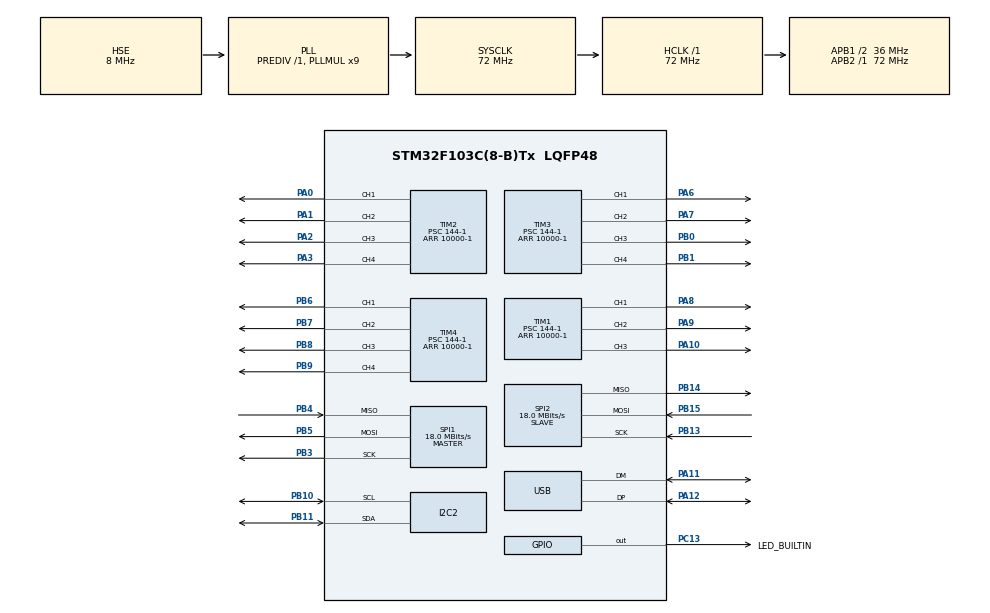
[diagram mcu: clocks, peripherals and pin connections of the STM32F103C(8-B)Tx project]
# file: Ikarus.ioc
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Mcu.Family=STM32F1
Mcu.Name=STM32F103C(8-B)Tx
Mcu.Package=LQFP48
NVIC.PriorityGroup=NVIC_PRIORITYGROUP_4
NVIC.TIM2_IRQn=true\:0\:0\:false\:false\:true\:true\:true
NVIC.TIM3_IRQn=true\:0\:0\:false\:false\:true\:true\:true
NVIC.TIM4_IRQn=true\:0\:0\:false\:false\:true\:true\:true
NVIC.USB_LP_CAN1_RX0_IRQn=true\:0\:0\:false\:false\:true\:false\:true
PA0-WKUP.Signal=S_TIM2_CH1_ETR
PA1.Signal=S_TIM2_CH2
PA10.Signal=S_TIM1_CH3
PA11.Mode=Device
PA11.Signal=USB_DM
PA12.Mode=Device
PA12.Signal=USB_DP
PA13.Mode=Serial_Wire
PA13.Signal=SYS_JTMS-SWDIO
PA14.Mode=Serial_Wire
PA14.Signal=SYS_JTCK-SWCLK
PA2.Signal=S_TIM2_CH3
PA3.Signal=S_TIM2_CH4
PA6.Signal=S_TIM3_CH1
PA7.Signal=S_TIM3_CH2
PA8.Signal=S_TIM1_CH1
PA9.Signal=S_TIM1_CH2
PB0.Signal=S_TIM3_CH3
PB1.Signal=S_TIM3_CH4
PB10.Mode=I2C
PB10.Signal=I2C2_SCL
PB11.Mode=I2C
PB11.Signal=I2C2_SDA
PB13.Mode=Full_Duplex_Slave
PB13.Signal=SPI2_SCK
PB14.Mode=Full_Duplex_Slave
PB14.Signal=SPI2_MISO
PB15.Mode=Full_Duplex_Slave
PB15.Signal=SPI2_MOSI
PB3.Mode=Full_Duplex_Master
PB3.Signal=SPI1_SCK
PB4.Mode=Full_Duplex_Master
PB4.Signal=SPI1_MISO
PB5.Mode=Full_Duplex_Master
PB5.Signal=SPI1_MOSI
PB6.Signal=S_TIM4_CH1
PB7.Signal=S_TIM4_CH2
PB8.Signal=S_TIM4_CH3
PB9.Signal=S_TIM4_CH4
PC13-TAMPER-RTC.GPIO_Label=LED_BUILTIN
PC13-TAMPER-RTC.Signal=GPIO_Output
PD0-OSC_IN.Mode=HSE-External-Oscillator
PD0-OSC_IN.Signal=RCC_OSC_IN
PD1-OSC_OUT.Mode=HSE-External-Oscillator
PD1-OSC_OUT.Signal=RCC_OSC_OUT
ProjectManager.HeapSize=0x200
ProjectManager.StackSize=0x400
ProjectManager.TargetToolchain=STM32CubeIDE
RCC.AHBFreq_Value=72000000
RCC.APB1CLKDivider=RCC_HCLK_DIV2
RCC.APB1Freq_Value=36000000
RCC.APB1TimFreq_Value=72000000
RCC.APB2Freq_Value=72000000
RCC.APB2TimFreq_Value=72000000
RCC.HCLKFreq_Value=72000000
RCC.PLLMUL=RCC_PLL_MUL9
RCC.SYSCLKFreq_VALUE=72000000
RCC.SYSCLKSource=RCC_SYSCLKSOURCE_PLLCLK
RCC.USBFreq_Value=48000000
RCC.USBPrescaler=RCC_USBCLKSOURCE_PLL_DIV1_5
SH.S_TIM1_CH1.0=TIM1_CH1,Output Compare1 CH1
SH.S_TIM1_CH2.0=TIM1_CH2,Output Compare2 CH2
SH.S_TIM1_CH3.0=TIM1_CH3,Output Compare3 CH3
SH.S_TIM2_CH1_ETR.0=TIM2_CH1,PWM Generation1 CH1
SH.S_TIM2_CH2.0=TIM2_CH2,PWM Generation2 CH2
SH.S_TIM2_CH3.0=TIM2_CH3,PWM Generation3 CH3
SH.S_TIM2_CH4.0=TIM2_CH4,PWM Generation4 CH4
SH.S_TIM3_CH1.0=TIM3_CH1,PWM Generation1 CH1
SH.S_TIM3_CH2.0=TIM3_CH2,PWM Generation2 CH2
SH.S_TIM3_CH3.0=TIM3_CH3,PWM Generation3 CH3
SH.S_TIM3_CH4.0=TIM3_CH4,PWM Generation4 CH4
SH.S_TIM4_CH1.0=TIM4_CH1,PWM Generation1 CH1
SH.S_TIM4_CH2.0=TIM4_CH2,PWM Generation2 CH2
SH.S_TIM4_CH3.0=TIM4_CH3,PWM Generation3 CH3
SH.S_TIM4_CH4.0=TIM4_CH4,PWM Generation4 CH4
SPI1.BaudRatePrescaler=SPI_BAUDRATEPRESCALER_4
SPI1.CalculateBaudRate=18.0 MBits/s
SPI1.Direction=SPI_DIRECTION_2LINES
SPI1.Mode=SPI_MODE_MASTER
SPI1.VirtualType=VM_MASTER
SPI2.CalculateBaudRate=18.0 MBits/s
SPI2.Direction=SPI_DIRECTION_2LINES
SPI2.Mode=SPI_MODE_SLAVE
SPI2.VirtualType=VM_SLAVE
TIM1.Channel-Output\ Compare1\ CH1=TIM_CHANNEL_1
TIM1.Channel-Output\ Compare2\ CH2=TIM_CHANNEL_2
TIM1.Channel-Output\ Compare3\ CH3=TIM_CHANNEL_3
TIM1.Period=10000-1
TIM1.Prescaler=144-1
TIM2.Channel-PWM\ Generation1\ CH1=TIM_CHANNEL_1
TIM2.Channel-PWM\ Generation2\ CH2=TIM_CHANNEL_2
TIM2.Channel-PWM\ Generation3\ CH3=TIM_CHANNEL_3
TIM2.Channel-PWM\ Generation4\ CH4=TIM_CHANNEL_4
TIM2.Period=10000-1
TIM2.Prescaler=144-1
TIM3.Channel-PWM\ Generation1\ CH1=TIM_CHANNEL_1
TIM3.Channel-PWM\ Generation2\ CH2=TIM_CHANNEL_2
TIM3.Channel-PWM\ Generation3\ CH3=TIM_CHANNEL_3
TIM3.Channel-PWM\ Generation4\ CH4=TIM_CHANNEL_4
TIM3.Period=10000-1
TIM3.Prescaler=144-1
TIM4.Channel-PWM\ Generation1\ CH1=TIM_CHANNEL_1
TIM4.Channel-PWM\ Generation2\ CH2=TIM_CHANNEL_2
TIM4.Channel-PWM\ Generation3\ CH3=TIM_CHANNEL_3
TIM4.Channel-PWM\ Generation4\ CH4=TIM_CHANNEL_4
TIM4.Period=10000-1
TIM4.Prescaler=144-1
USB_DEVICE.CLASS_NAME_FS=CDC
USB_DEVICE.MANUFACTURER_STRING=Silencio Designs
USB_DEVICE.PRODUCT_STRING_CDC_FS=Silencio Communicator
USB_DEVICE.VirtualMode=Cdc
USB_DEVICE.VirtualModeFS=Cdc_FS
VP_TIM1_VS_ClockSourceINT.Mode=Internal
VP_TIM2_VS_ClockSourceINT.Mode=Internal
VP_TIM3_VS_ClockSourceINT.Mode=Internal
VP_TIM4_VS_ClockSourceINT.Mode=Internal
VP_USB_DEVICE_VS_USB_DEVICE_CDC_FS.Mode=CDC_FS
board=custom

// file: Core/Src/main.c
/* USER CODE BEGIN Header */
/**
 ******************************************************************************
 * @file           : main.c
 * @brief          : Main program body
 ******************************************************************************
 * @attention
 *
 * <h2><center>&copy; Copyright (c) 2019 STMicroelectronics.
 * All rights reserved.</center></h2>
 *
 * This software component is licensed by ST under BSD 3-Clause license,
 * the "License"; You may not use this file except in compliance with the
 * License. You may obtain a copy of the License at:
 *                        opensource.org/licenses/BSD-3-Clause
 *
 ******************************************************************************
 */
/* USER CODE END Header */

#include "main.h"
#include "i2c.h"
#include "spi.h"
#include "tim.h"
#include "usb_device.h"
#include "gpio.h"

/* USER CODE BEGIN Includes */

// Include to use Receive_fs data in code
#include "usbd_cdc_if.h"

/* USER CODE END Includes */

/* USER CODE BEGIN PV */

//var to use USB
USBD_HandleTypeDef hUsbDeviceFS;

unsigned int position;

/* USER CODE END PV */

void SystemClock_Config(void);
/* USER CODE BEGIN PFP */
uint8_t CDC_Transmit_FS(uint8_t *Buf, uint16_t Len);

void set_pmw_handler_all_channels_pulse_width(TIM_HandleTypeDef handler,
		unsigned int pulseWidth);

HAL_StatusTypeDef HAL_TIM_PWM_Start_AllChannels(TIM_HandleTypeDef *htim);

/* USER CODE END PFP */

/* USER CODE BEGIN 0 */

HAL_StatusTypeDef HAL_TIM_PWM_Start_AllChannels(TIM_HandleTypeDef *htim) {
	if (HAL_TIM_PWM_Start(htim, TIM_CHANNEL_1) == HAL_OK
			&& HAL_TIM_PWM_Start(htim, TIM_CHANNEL_1) == HAL_OK
			&& HAL_TIM_PWM_Start(htim, TIM_CHANNEL_1) == HAL_OK
			&& HAL_TIM_PWM_Start(htim, TIM_CHANNEL_1) == HAL_OK) {
		return HAL_OK;
	}
	return HAL_ERROR;
}
;

void set_pmw_handler_all_channels_pulse_width(TIM_HandleTypeDef handler,
		unsigned int pulseWidth) {
	handler.Instance->CCR1 = pulseWidth;
	handler.Instance->CCR2 = pulseWidth;
	handler.Instance->CCR3 = pulseWidth;
	handler.Instance->CCR4 = pulseWidth;
}
;

/* USER CODE END 0 */

int main(void) {

	/* MCU Configuration--------------------------------------------------------*/

	/* Reset of all peripherals, Initializes the Flash interface and the Systick. */
	HAL_Init();

	/* Configure the system clock */
	SystemClock_Config();

	/* Initialize all configured peripherals */
	MX_GPIO_Init();
	MX_I2C2_Init();
	MX_SPI1_Init();
	MX_SPI2_Init();
	MX_TIM1_Init();
	MX_TIM2_Init();
	MX_TIM3_Init();
	MX_TIM4_Init();
	MX_USB_DEVICE_Init();
	/* USER CODE BEGIN 2 */

	unsigned int position_minimum = 350;
	unsigned int position_center = 750;
	unsigned int position_maximum = 1250;

	unsigned int position = position_center;

	set_pmw_handler_all_channels_pulse_width(htim1, position);
	set_pmw_handler_all_channels_pulse_width(htim2, position);
	set_pmw_handler_all_channels_pulse_width(htim3, position);
	set_pmw_handler_all_channels_pulse_width(htim4, position);

	HAL_TIM_PWM_Start_AllChannels(&htim1);
	HAL_TIM_PWM_Start_AllChannels(&htim2);
	HAL_TIM_PWM_Start_AllChannels(&htim3);
	HAL_TIM_PWM_Start_AllChannels(&htim4);

	/* USER CODE END 2 */

	/* Infinite loop */
	/* USER CODE BEGIN WHILE */
	while (1) {
		/*
		if (hUsbDeviceFS.dev_state == USBD_STATE_CONFIGURED) {
			uint8_t Buf[] = "\r\nWe are ON baby\r\n";
			CDC_Transmit_FS(Buf, sizeof(Buf));
		}
		*/

		HAL_GPIO_TogglePin(LED_BUILTIN_GPIO_Port, LED_BUILTIN_Pin);

		set_pmw_handler_all_channels_pulse_width(htim1, position);
		set_pmw_handler_all_channels_pulse_width(htim2, position);
		set_pmw_handler_all_channels_pulse_width(htim3, position);
		set_pmw_handler_all_channels_pulse_width(htim4, position);

		position++;
		if (position >= position_maximum) {
			position = position_minimum;
			htim2.Instance->CCR1 = position;
			HAL_GPIO_WritePin(LED_BUILTIN_GPIO_Port, LED_BUILTIN_Pin,
					GPIO_PIN_RESET);
			HAL_Delay(600);
		}

		HAL_Delay(5000);
		/* USER CODE END WHILE */
	}
}

void SystemClock_Config(void) {
	RCC_OscInitTypeDef RCC_OscInitStruct = { 0 };
	RCC_ClkInitTypeDef RCC_ClkInitStruct = { 0 };
	RCC_PeriphCLKInitTypeDef PeriphClkInit = { 0 };

	/** Initializes the CPU, AHB and APB busses clocks
	 */
	RCC_OscInitStruct.OscillatorType = RCC_OSCILLATORTYPE_HSE;
	RCC_OscInitStruct.HSEState = RCC_HSE_ON;
	RCC_OscInitStruct.HSEPredivValue = RCC_HSE_PREDIV_DIV1;
	RCC_OscInitStruct.HSIState = RCC_HSI_ON;
	RCC_OscInitStruct.PLL.PLLState = RCC_PLL_ON;
	RCC_OscInitStruct.PLL.PLLSource = RCC_PLLSOURCE_HSE;
	RCC_OscInitStruct.PLL.PLLMUL = RCC_PLL_MUL9;
	if (HAL_RCC_OscConfig(&RCC_OscInitStruct) != HAL_OK) {
		Error_Handler();
	}
	/** Initializes the CPU, AHB and APB busses clocks
	 */
	RCC_ClkInitStruct.ClockType = RCC_CLOCKTYPE_HCLK | RCC_CLOCKTYPE_SYSCLK
			| RCC_CLOCKTYPE_PCLK1 | RCC_CLOCKTYPE_PCLK2;
	RCC_ClkInitStruct.SYSCLKSource = RCC_SYSCLKSOURCE_PLLCLK;
	RCC_ClkInitStruct.AHBCLKDivider = RCC_SYSCLK_DIV1;
	RCC_ClkInitStruct.APB1CLKDivider = RCC_HCLK_DIV2;
	RCC_ClkInitStruct.APB2CLKDivider = RCC_HCLK_DIV1;

	if (HAL_RCC_ClockConfig(&RCC_ClkInitStruct, FLASH_LATENCY_2) != HAL_OK) {
		Error_Handler();
	}
	PeriphClkInit.PeriphClockSelection = RCC_PERIPHCLK_USB;
	PeriphClkInit.UsbClockSelection = RCC_USBCLKSOURCE_PLL_DIV1_5;
	if (HAL_RCCEx_PeriphCLKConfig(&PeriphClkInit) != HAL_OK) {
		Error_Handler();
	}
}

void Error_Handler(void) {
}

/************************ (C) COPYRIGHT STMicroelectronics *****END OF FILE****/
